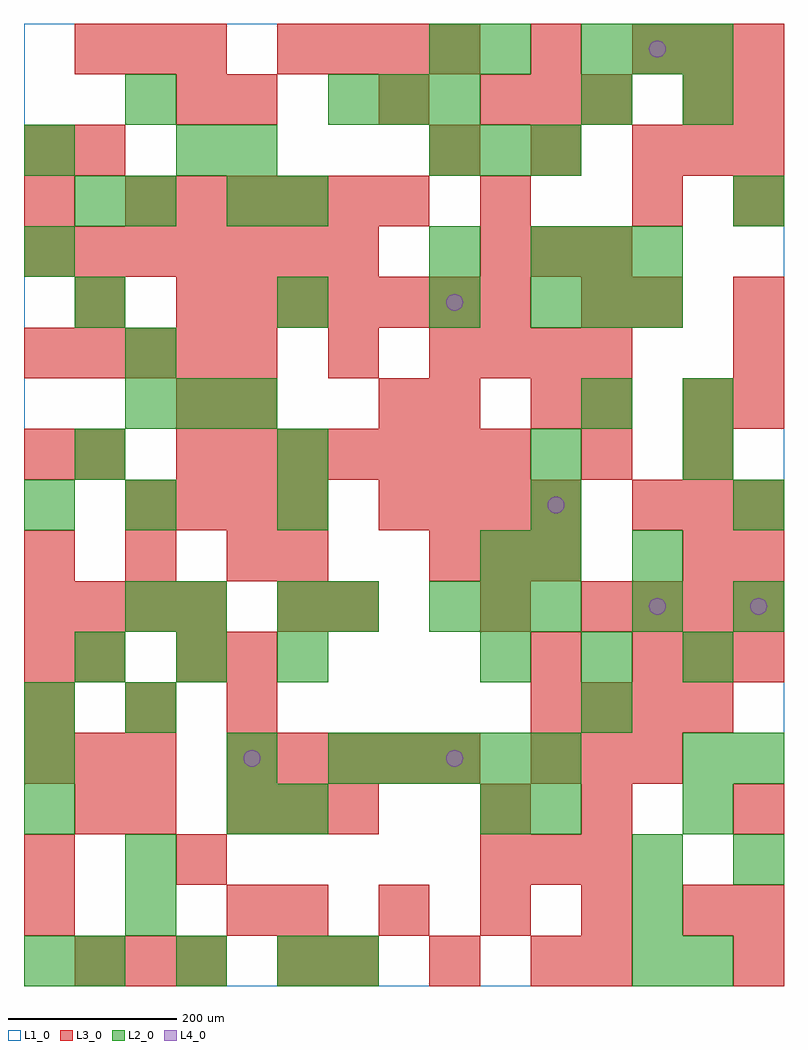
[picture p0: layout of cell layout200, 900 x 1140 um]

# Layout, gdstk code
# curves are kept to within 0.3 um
import gdstk
lib = gdstk.Library(unit=1e-6, precision=1e-09)
def R(c, l, rs):  # rectangles x0, y0, x1, y1
    for r in rs: c.add(gdstk.rectangle(r[:2], r[2:], *l))
def A(c, l, x, y, w, h, nx, ny, dx, dy):  # array of equal rectangles
    R(c, l, [(x+i*dx, y+j*dy, x+i*dx+w, y+j*dy+h) for i in range(nx) for j in range(ny)])
def P(c, l, *ps):  # polygons
    for p in ps: c.add(gdstk.Polygon(p, *l))
L1_0 = (1, 0)
L2_0 = (2, 0)
L3_0 = (3, 0)
L4_0 = (4, 0)

layout200 = lib.new_cell('layout200')
R(layout200, L1_0, [(0,0,900,1140)])
A(layout200, L2_0, 60, 0, 60, 60, 3, 2, 120, 360)
A(layout200, L2_0, 720, 0, 60, 60, 1, 3, 0, 60)
A(layout200, L2_0, 0, 180, 60, 60, 1, 3, 0, 60)
A(layout200, L2_0, 360, 240, 60, 60, 5, 1, 60, 0)
A(layout200, L2_0, 120, 300, 60, 60, 1, 3, 0, 120)
A(layout200, L2_0, 660, 300, 60, 60, 1, 3, 0, 360)
A(layout200, L2_0, 540, 360, 60, 60, 3, 1, 120, 0)
A(layout200, L2_0, 480, 420, 60, 60, 3, 2, 60, 540)
A(layout200, L2_0, 600, 480, 60, 60, 1, 3, 0, 60)
A(layout200, L2_0, 120, 660, 60, 60, 3, 1, 60, 0)
A(layout200, L2_0, 600, 780, 60, 60, 3, 2, 60, 60)
A(layout200, L2_0, 360, 1020, 60, 60, 3, 1, 60, 0)
A(layout200, L2_0, 660, 1080, 60, 60, 3, 1, 60, 0)
R(layout200, L2_0, [(0,0,60,60), (360,0,420,60), (780,0,840,60), (120,60,180,120), (120,120,180,180), (840,120,900,180), (240,180,300,240), (300,180,360,240), (540,180,600,240), (600,180,660,240), (780,180,840,240), (240,240,300,300), (780,240,840,300), (840,240,900,300), (180,420,240,480), (300,420,360,480), (360,420,420,480), (720,420,780,480), (840,420,900,480), (540,480,600,540), (720,480,780,540), (0,540,60,600), (300,540,360,600), (840,540,900,600), (60,600,120,660), (300,600,360,660), (780,600,840,660), (780,660,840,720), (120,720,180,780), (60,780,120,840), (300,780,360,840), (480,780,540,840), (0,840,60,900), (480,840,540,900), (60,900,120,960), (120,900,180,960), (240,900,300,960), (300,900,360,960), (840,900,900,960), (0,960,60,1020), (180,960,240,1020), (240,960,300,1020), (120,1020,180,1080), (780,1020,840,1080), (480,1080,540,1140), (540,1080,600,1140)])
A(layout200, L3_0, 60, 0, 60, 60, 3, 2, 60, 1080)
A(layout200, L3_0, 360, 0, 60, 60, 3, 1, 120, 0)
A(layout200, L3_0, 240, 60, 60, 60, 1, 3, 0, 300)
A(layout200, L3_0, 300, 60, 60, 60, 5, 1, 120, 0)
A(layout200, L3_0, 0, 120, 60, 60, 1, 3, 0, 240)
A(layout200, L3_0, 540, 120, 60, 60, 3, 2, 60, 720)
A(layout200, L3_0, 240, 180, 60, 60, 3, 1, 60, 0)
A(layout200, L3_0, 0, 240, 60, 60, 3, 1, 60, 0)
A(layout200, L3_0, 240, 240, 60, 60, 5, 1, 60, 0)
A(layout200, L3_0, 600, 240, 60, 60, 3, 1, 60, 0)
A(layout200, L3_0, 0, 300, 60, 60, 3, 2, 120, 180)
A(layout200, L3_0, 600, 300, 60, 60, 4, 1, 60, 0)
A(layout200, L3_0, 720, 360, 60, 60, 3, 2, 60, 180)
A(layout200, L3_0, 0, 420, 60, 60, 4, 1, 60, 0)
A(layout200, L3_0, 660, 420, 60, 60, 4, 1, 60, 0)
A(layout200, L3_0, 480, 480, 60, 60, 3, 1, 60, 0)
A(layout200, L3_0, 120, 540, 60, 60, 4, 1, 60, 0)
A(layout200, L3_0, 420, 540, 60, 60, 4, 1, 60, 0)
A(layout200, L3_0, 60, 600, 60, 60, 1, 3, 0, 180)
A(layout200, L3_0, 180, 600, 60, 60, 7, 2, 60, 180)
A(layout200, L3_0, 840, 660, 60, 60, 1, 3, 0, 60)
A(layout200, L3_0, 0, 720, 60, 60, 5, 1, 60, 0)
A(layout200, L3_0, 480, 720, 60, 60, 4, 1, 60, 0)
A(layout200, L3_0, 0, 840, 60, 60, 7, 1, 60, 0)
A(layout200, L3_0, 120, 900, 60, 60, 6, 1, 60, 0)
A(layout200, L3_0, 840, 900, 60, 60, 1, 3, 0, 60)
A(layout200, L3_0, 480, 960, 60, 60, 3, 1, 120, 0)
A(layout200, L3_0, 540, 1020, 60, 60, 3, 1, 60, 0)
A(layout200, L3_0, 300, 1080, 60, 60, 4, 1, 60, 0)
A(layout200, L3_0, 720, 1080, 60, 60, 3, 1, 60, 0)
R(layout200, L3_0, [(300,0,360,60), (660,0,720,60), (840,0,900,60), (0,60,60,120), (840,60,900,120), (180,120,240,180), (60,180,120,240), (120,180,180,240), (540,180,600,240), (660,180,720,240), (840,180,900,240), (60,360,120,420), (180,360,240,420), (600,360,660,420), (300,420,360,480), (360,420,420,480), (540,420,600,480), (300,480,360,540), (780,480,840,540), (840,480,900,540), (660,600,720,660), (780,600,840,660), (180,660,240,720), (420,660,480,720), (480,660,540,720), (600,660,660,720), (660,660,720,720), (780,660,840,720), (360,720,420,780), (660,780,720,840), (720,780,780,840), (0,900,60,960), (540,900,600,960), (720,900,780,960), (0,960,60,1020), (780,960,840,1020), (180,1020,240,1080), (240,1020,300,1080), (420,1020,480,1080), (780,1020,840,1080), (600,1080,660,1140)])
P(layout200, L4_0, [(280,270),(279.239,273.827),(277.071,277.071),(273.827,279.239),(270,280),(266.173,279.239),(262.929,277.071),(260.761,273.827),(260,270),(260.761,266.173),(262.929,262.929),(266.173,260.761),(270,260),(273.827,260.761),(277.071,262.929),(279.239,266.173)],
  [(520,270),(519.239,273.827),(517.071,277.071),(513.827,279.239),(510,280),(506.173,279.239),(502.929,277.071),(500.761,273.827),(500,270),(500.761,266.173),(502.929,262.929),(506.173,260.761),(510,260),(513.827,260.761),(517.071,262.929),(519.239,266.173)],
  [(520,810),(519.239,813.827),(517.071,817.071),(513.827,819.239),(510,820),(506.173,819.239),(502.929,817.071),(500.761,813.827),(500,810),(500.761,806.173),(502.929,802.929),(506.173,800.761),(510,800),(513.827,800.761),(517.071,802.929),(519.239,806.173)],
  [(640,570),(639.239,573.827),(637.071,577.071),(633.827,579.239),(630,580),(626.173,579.239),(622.929,577.071),(620.761,573.827),(620,570),(620.761,566.173),(622.929,562.929),(626.173,560.761),(630,560),(633.827,560.761),(637.071,562.929),(639.239,566.173)],
  [(760,450),(759.239,453.827),(757.071,457.071),(753.827,459.239),(750,460),(746.173,459.239),(742.929,457.071),(740.761,453.827),(740,450),(740.761,446.173),(742.929,442.929),(746.173,440.761),(750,440),(753.827,440.761),(757.071,442.929),(759.239,446.173)],
  [(760,1110),(759.239,1113.827),(757.071,1117.071),(753.827,1119.239),(750,1120),(746.173,1119.239),(742.929,1117.071),(740.761,1113.827),(740,1110),(740.761,1106.173),(742.929,1102.929),(746.173,1100.761),(750,1100),(753.827,1100.761),(757.071,1102.929),(759.239,1106.173)],
  [(880,450),(879.239,453.827),(877.071,457.071),(873.827,459.239),(870,460),(866.173,459.239),(862.929,457.071),(860.761,453.827),(860,450),(860.761,446.173),(862.929,442.929),(866.173,440.761),(870,440),(873.827,440.761),(877.071,442.929),(879.239,446.173)])

lib.write_gds('layout200.gds')
